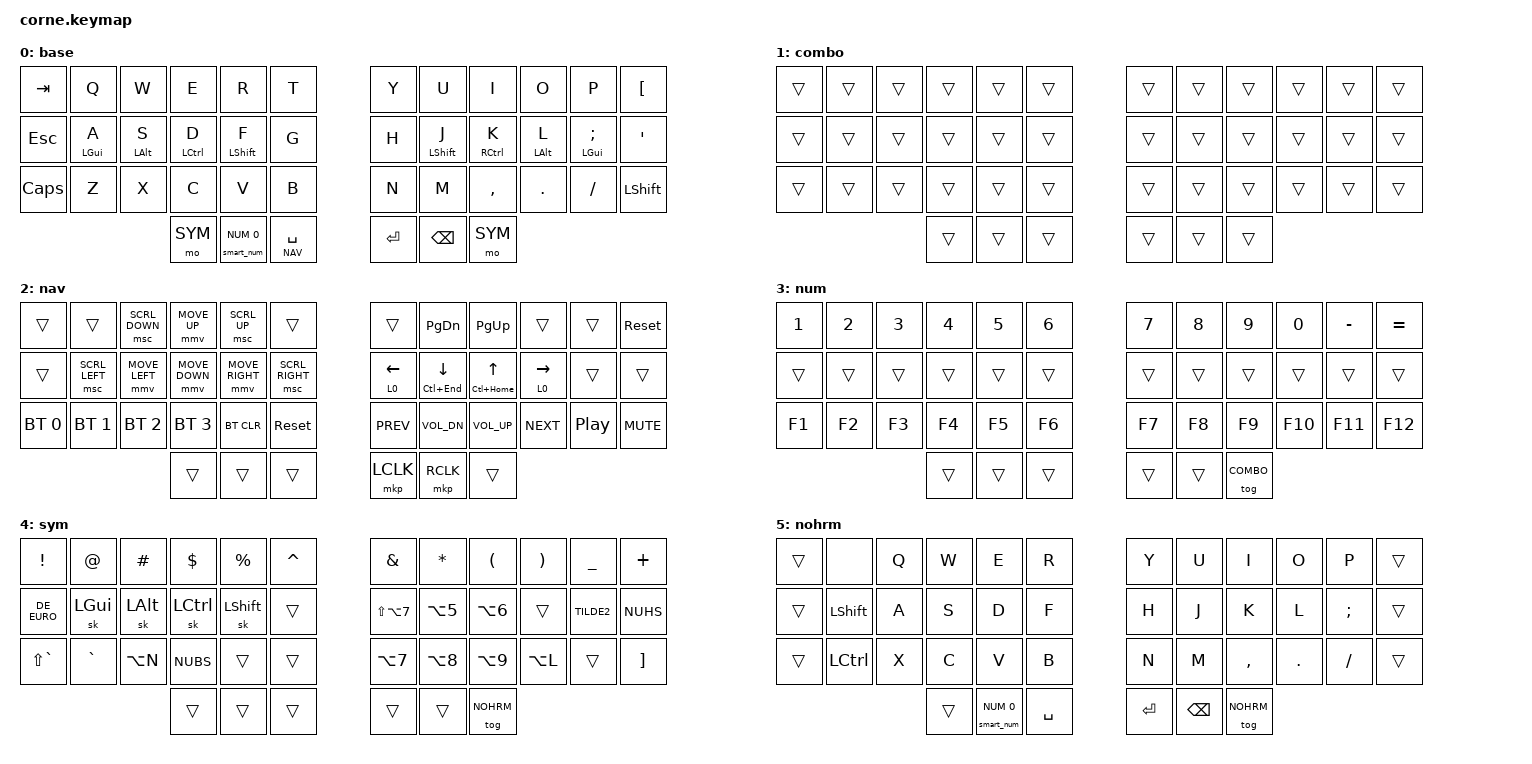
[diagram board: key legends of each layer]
#include <behaviors.dtsi>
#include <behaviors/num_word.dtsi>  // vendored zmk-auto-layer
#include <dt-bindings/zmk/bt.h>
#include <dt-bindings/zmk/keys.h>

// mouse speed, tuned for 3840x2160 (must come before pointing.h; ZMK defaults: 600 / 10)
#define ZMK_POINTING_DEFAULT_MOVE_VAL 900
#define ZMK_POINTING_DEFAULT_SCRL_VAL 10
#include <dt-bindings/zmk/pointing.h>
#include <input/processors.dtsi>
#include <zephyr/dt-bindings/input/input-event-codes.h>

#include "zmk-helpers/helper.h"        // vendored zmk-helpers
#include "zmk-helpers/key-labels/42.h"
#include "de_mac.h"

/*                              KEY POSITIONS

  ╭─────────────────────────╮ ╭─────────────────────────╮
  │ LT5 LT4 LT3 LT2 LT1 LT0 │ │ RT0 RT1 RT2 RT3 RT4 RT5 │
  │ LM5 LM4 LM3 LM2 LM1 LM0 │ │ RM0 RM1 RM2 RM3 RM4 RM5 │
  │ LB5 LB4 LB3 LB2 LB1 LB0 │ │ RB0 RB1 RB2 RB3 RB4 RB5 │
  ╰───────────╮ LH2 LH1 LH0 │ │ RH0 RH1 RH2 ╭───────────╯
              ╰─────────────╯ ╰─────────────╯ */

// Order matters: a layer only overrides the ones below it. ZMK_LAYER calls below
// must appear in this same order.
#define DEF 0
#define COMBO 1   // DEF + symbol combos (toggle: NUM + right thumb outer key)
#define NAV 2
#define NUM 3
#define SYM 4
#define NOHRM 5   // toggle: SYM + right thumb outer key

#define XXX &none
#define ___ &trans

#define QUICK_TAP_MS 175

/* Global behavior settings */

&sk {  // sticky-key
    release-after-ms = <900>;
    quick-release;             // no double capitalization when rolling keys
};

&sl {  // sticky-layer
    ignore-modifiers;          // allow chording sticky mods & layers
};

&lt {  // layer-tap
    flavor = "balanced";
    tapping-term-ms = <200>;
    quick-tap-ms = <QUICK_TAP_MS>;
};

/* Homerow mods: only resolve as hold when a key on the other hand (or a thumb) is pressed */

#define KEYS_L LT0 LT1 LT2 LT3 LT4 LM0 LM1 LM2 LM3 LM4 LB0 LB1 LB2 LB3 LB4
#define KEYS_R RT0 RT1 RT2 RT3 RT4 RM0 RM1 RM2 RM3 RM4 RB0 RB1 RB2 RB3 RB4
#define THUMBS LH2 LH1 LH0 RH0 RH1 RH2

#define MAKE_HRM(NAME, HOLD, TAP, TRIGGER_POS) \
    ZMK_HOLD_TAP(NAME, \
        flavor = "balanced"; \
        tapping-term-ms = <200>; \
        quick-tap-ms = <QUICK_TAP_MS>; \
        require-prior-idle-ms = <100>; \
        bindings = <HOLD>, <TAP>; \
        hold-trigger-key-positions = <TRIGGER_POS>; \
        hold-trigger-on-release; \
    )
MAKE_HRM(hml, &kp, &kp, KEYS_R THUMBS)  // left-hand HRMs
MAKE_HRM(hmr, &kp, &kp, KEYS_L THUMBS)  // right-hand HRMs

/* Nav cluster: tap = short action, long-press = long action */

#define MT_CORE \
    flavor = "tap-preferred"; \
    tapping-term-ms = <220>; \
    quick-tap-ms = <220>; \
    hold-trigger-key-positions = <0>;

&mt { MT_CORE };
ZMK_HOLD_TAP(mt_home, bindings = <&masked_home>, <&kp>; MT_CORE)
ZMK_HOLD_TAP(mt_end, bindings = <&masked_end>, <&kp>; MT_CORE)

// mask CTRL when holding left/right to avoid accidental jumps to beginning/end of document
ZMK_MOD_MORPH(masked_home, bindings = <&kp HOME>, <&kp HOME>; mods = <(MOD_LCTL)>;)
ZMK_MOD_MORPH(masked_end, bindings = <&kp END>, <&kp END>; mods = <(MOD_LCTL)>;)

#define NAV_LEFT  &mt_home 0   LEFT    // tap: left  | long-tap: beginning of line
#define NAV_RIGHT &mt_end 0    RIGHT   // tap: right | long-tap: end       of line
#define NAV_UP    &mt LC(HOME) UP      // tap: up    | long-tap: beginning of document
#define NAV_DOWN  &mt LC(END)  DOWN    // tap: down  | long-tap: end       of document

/* Smart num: tap = num-word | double-tap = sticky num layer | hold = num layer */

#define SMART_NUM &smart_num NUM 0
ZMK_HOLD_TAP(smart_num,
    flavor = "balanced";
    tapping-term-ms = <200>;
    quick-tap-ms = <QUICK_TAP_MS>;
    bindings = <&mo>, <&num_dance>;
)
ZMK_TAP_DANCE(num_dance,
    tapping-term-ms = <200>;
    bindings = <&num_word NUM>, <&sl NUM>;
)

/* Symbol combos (COMBO layer only), layout from urob's zmk-config

   press two neighbouring keys at once (letters as typed with the German layout):

     vertical, top + home row        vertical, home + bottom row
       W+S @   E+D #   R+F $   T+G %     S+X `   D+C \   F+V =   G+B ~
       Z+H ^   U+J +   I+K *   O+L &     H+N _   J+M -   K+, /   L+. |

     horizontal, right hand
       U+I {   I+O }      J+K (  shift: <      M+, [   ,+. ]
                          K+L )  shift: >

   J+K / K+L sit on homerow mods, so holding them gives the mods instead
   (J+K: shift+ctrl, K+L: ctrl+alt). */

#define COMBO_TERM_FAST 18  // horizontal: must hit almost together
#define COMBO_TERM_SLOW 30  // vertical: two fingers, a bit more slack
#define COMBO_IDLE_FAST 150 // no combos right after typing (avoids misfires)
#define COMBO_IDLE_SLOW 50
#define COMBO_LAYERS COMBO

// hold-tap combos: tap = symbol, hold = mods (8-argument ZMK_COMBO)
#define ZMK_COMBO_8(NAME, TAP, KEYPOS, LAYERS, TERM, IDLE, HOLD, SIDE) \
    MAKE_HRM(hm_combo_ ## NAME, &kp, TAP, SIDE THUMBS) \
    ZMK_COMBO_6(NAME, &hm_combo_ ## NAME HOLD 0, KEYPOS, LAYERS, TERM, IDLE)

ZMK_MOD_MORPH(lpar_lt, mods = <(MOD_LSFT|MOD_RSFT)>; bindings = <&kp DE_LPAR>, <&kp DE_LT>;)
ZMK_MOD_MORPH(rpar_gt, mods = <(MOD_LSFT|MOD_RSFT)>; bindings = <&kp DE_RPAR>, <&kp DE_GT>;)

/* Horizontal - right hand */
ZMK_COMBO(lbrc,  &kp DE_LBRC,  RT1 RT2, COMBO_LAYERS, COMBO_TERM_FAST, COMBO_IDLE_FAST)
ZMK_COMBO(rbrc,  &kp DE_RBRC,  RT2 RT3, COMBO_LAYERS, COMBO_TERM_FAST, COMBO_IDLE_FAST)
ZMK_COMBO(lpar,  &lpar_lt,     RM1 RM2, COMBO_LAYERS, COMBO_TERM_FAST, COMBO_IDLE_FAST, LS(RCTRL), KEYS_L)
ZMK_COMBO(rpar,  &rpar_gt,     RM2 RM3, COMBO_LAYERS, COMBO_TERM_FAST, COMBO_IDLE_FAST, LA(RCTRL), KEYS_L)
ZMK_COMBO(lbkt,  &kp DE_LBKT,  RB1 RB2, COMBO_LAYERS, COMBO_TERM_FAST, COMBO_IDLE_FAST)
ZMK_COMBO(rbkt,  &kp DE_RBKT,  RB2 RB3, COMBO_LAYERS, COMBO_TERM_FAST, COMBO_IDLE_FAST)

/* Vertical - left hand */
ZMK_COMBO(at,    &kp DE_AT,    LT3 LM3, COMBO_LAYERS, COMBO_TERM_SLOW, COMBO_IDLE_SLOW)
ZMK_COMBO(hash,  &kp DE_HASH,  LT2 LM2, COMBO_LAYERS, COMBO_TERM_SLOW, COMBO_IDLE_SLOW)
ZMK_COMBO(dllr,  &kp DE_DLLR,  LT1 LM1, COMBO_LAYERS, COMBO_TERM_SLOW, COMBO_IDLE_SLOW)
ZMK_COMBO(prcnt, &kp DE_PRCNT, LT0 LM0, COMBO_LAYERS, COMBO_TERM_SLOW, COMBO_IDLE_SLOW)
ZMK_COMBO(grave, &kp DE_GRAVE, LM3 LB3, COMBO_LAYERS, COMBO_TERM_SLOW, COMBO_IDLE_SLOW)
ZMK_COMBO(bslh,  &kp DE_BSLH,  LM2 LB2, COMBO_LAYERS, COMBO_TERM_SLOW, COMBO_IDLE_SLOW)
ZMK_COMBO(equal, &kp DE_EQUAL, LM1 LB1, COMBO_LAYERS, COMBO_TERM_SLOW, COMBO_IDLE_SLOW)
ZMK_COMBO(tilde, &kp DE_TILDE, LM0 LB0, COMBO_LAYERS, COMBO_TERM_SLOW, COMBO_IDLE_SLOW)

/* Vertical - right hand */
ZMK_COMBO(caret, &kp DE_CARET, RT0 RM0, COMBO_LAYERS, COMBO_TERM_SLOW, COMBO_IDLE_SLOW)
ZMK_COMBO(plus,  &kp DE_PLUS,  RT1 RM1, COMBO_LAYERS, COMBO_TERM_SLOW, COMBO_IDLE_SLOW)
ZMK_COMBO(star,  &kp DE_STAR,  RT2 RM2, COMBO_LAYERS, COMBO_TERM_SLOW, COMBO_IDLE_SLOW)
ZMK_COMBO(amps,  &kp DE_AMPS,  RT3 RM3, COMBO_LAYERS, COMBO_TERM_SLOW, COMBO_IDLE_SLOW)
ZMK_COMBO(under, &kp DE_UNDER, RM0 RB0, COMBO_LAYERS, COMBO_TERM_SLOW, COMBO_IDLE_SLOW)
ZMK_COMBO(minus, &kp DE_MINUS, RM1 RB1, COMBO_LAYERS, COMBO_TERM_SLOW, COMBO_IDLE_SLOW)
ZMK_COMBO(fslh,  &kp DE_FSLH,  RM2 RB2, COMBO_LAYERS, COMBO_TERM_SLOW, COMBO_IDLE_SLOW)
ZMK_COMBO(pipe,  &kp DE_PIPE,  RM3 RB3, COMBO_LAYERS, COMBO_TERM_SLOW, COMBO_IDLE_SLOW)

/* Mouse keys, based on @caksoylar's config */

&mmv {
    acceleration-exponent = <1>;
    time-to-max-speed-ms = <500>;
    delay-ms = <0>;
};

&msc {
    acceleration-exponent = <0>;
    time-to-max-speed-ms = <300>;
    delay-ms = <0>;
};

/ {
    zip_scroll_scaler: zip_scroll_scaler {
        compatible = "zmk,input-processor-scaler";
        #input-processor-cells = <2>;
        type = <INPUT_EV_REL>;
        codes = <INPUT_REL_WHEEL INPUT_REL_HWHEEL>;
        track-remainders;
    };
};

&mmv_input_listener {
    warp { layers = <NAV>; input-processors = <&zip_xy_scaler 3 1>; };       // 3x faster on NAV
};

&msc_input_listener {
    warp { layers = <NAV>; input-processors = <&zip_scroll_scaler 2 1>; };   // 2x faster on NAV
};

#define U_MS_U &mmv MOVE_UP
#define U_MS_D &mmv MOVE_DOWN
#define U_MS_L &mmv MOVE_LEFT
#define U_MS_R &mmv MOVE_RIGHT
#define U_WH_U &msc SCRL_UP
#define U_WH_D &msc SCRL_DOWN
#define U_WH_L &msc SCRL_LEFT
#define U_WH_R &msc SCRL_RIGHT

/* Keymap */

ZMK_LAYER(base,
//╭─────────────┬─────────────┬─────────────┬─────────────┬─────────────┬─────────────╮ ╭─────────────┬─────────────┬─────────────┬─────────────┬─────────────┬─────────────╮
    &kp TAB       &kp Q         &kp W         &kp E         &kp R         &kp T           &kp Y         &kp U         &kp I         &kp O         &kp P         &kp LBKT
//├─────────────┼─────────────┼─────────────┼─────────────┼─────────────┼─────────────┤ ├─────────────┼─────────────┼─────────────┼─────────────┼─────────────┼─────────────┤
    &kp ESC       &hml LGUI A   &hml LALT S   &hml LCTRL D  &hml LSHFT F  &kp G           &kp H         &hmr LSHFT J  &hmr RCTRL K  &hmr LALT L   &hmr LGUI SEMI &kp SQT
//├─────────────┼─────────────┼─────────────┼─────────────┼─────────────┼─────────────┤ ├─────────────┼─────────────┼─────────────┼─────────────┼─────────────┼─────────────┤
    &kp CAPS      &kp Z         &kp X         &kp C         &kp V         &kp B           &kp N         &kp M         &kp COMMA     &kp DOT       &kp FSLH      &kp LSHFT
//╰─────────────┴─────────────┴─────────────┼─────────────┼─────────────┼─────────────┤ ├─────────────┼─────────────┼─────────────┼─────────────┴─────────────┴─────────────╯
                                              &mo SYM       SMART_NUM     &lt NAV SPACE   &kp RET       &kp BSPC      &mo SYM
//                                          ╰─────────────┴─────────────┴─────────────╯ ╰─────────────┴─────────────┴─────────────╯
)

// Same as base (all transparent); only exists so the symbol combos can be toggled on/off.
ZMK_LAYER(combo,
//╭─────────────┬─────────────┬─────────────┬─────────────┬─────────────┬─────────────╮ ╭─────────────┬─────────────┬─────────────┬─────────────┬─────────────┬─────────────╮
    ___           ___           ___           ___           ___           ___             ___           ___           ___           ___           ___           ___
//├─────────────┼─────────────┼─────────────┼─────────────┼─────────────┼─────────────┤ ├─────────────┼─────────────┼─────────────┼─────────────┼─────────────┼─────────────┤
    ___           ___           ___           ___           ___           ___             ___           ___           ___           ___           ___           ___
//├─────────────┼─────────────┼─────────────┼─────────────┼─────────────┼─────────────┤ ├─────────────┼─────────────┼─────────────┼─────────────┼─────────────┼─────────────┤
    ___           ___           ___           ___           ___           ___             ___           ___           ___           ___           ___           ___
//╰─────────────┴─────────────┴─────────────┼─────────────┼─────────────┼─────────────┤ ├─────────────┼─────────────┼─────────────┼─────────────┴─────────────┴─────────────╯
                                              ___           ___           ___             ___           ___           ___
//                                          ╰─────────────┴─────────────┴─────────────╯ ╰─────────────┴─────────────┴─────────────╯
)

ZMK_LAYER(nav,
//╭─────────────┬─────────────┬─────────────┬─────────────┬─────────────┬─────────────╮ ╭─────────────┬─────────────┬─────────────┬─────────────┬─────────────┬─────────────╮
    ___           ___           U_WH_D        U_MS_U        U_WH_U        ___             ___           &kp PG_DN     &kp PG_UP     ___           ___           &sys_reset
//├─────────────┼─────────────┼─────────────┼─────────────┼─────────────┼─────────────┤ ├─────────────┼─────────────┼─────────────┼─────────────┼─────────────┼─────────────┤
    ___           U_WH_L        U_MS_L        U_MS_D        U_MS_R        U_WH_R          NAV_LEFT      NAV_DOWN      NAV_UP        NAV_RIGHT     ___           ___
//├─────────────┼─────────────┼─────────────┼─────────────┼─────────────┼─────────────┤ ├─────────────┼─────────────┼─────────────┼─────────────┼─────────────┼─────────────┤
    &bt BT_SEL 0  &bt BT_SEL 1  &bt BT_SEL 2  &bt BT_SEL 3  &bt BT_CLR    &sys_reset      &kp C_PREV    &kp C_VOL_DN  &kp C_VOL_UP  &kp C_NEXT    &kp C_PP      &kp C_MUTE
//╰─────────────┴─────────────┴─────────────┼─────────────┼─────────────┼─────────────┤ ├─────────────┼─────────────┼─────────────┼─────────────┴─────────────┴─────────────╯
                                              ___           ___           ___             &mkp LCLK     &mkp RCLK     ___
//                                          ╰─────────────┴─────────────┴─────────────╯ ╰─────────────┴─────────────┴─────────────╯
)

ZMK_LAYER(num,
//╭─────────────┬─────────────┬─────────────┬─────────────┬─────────────┬─────────────╮ ╭─────────────┬─────────────┬─────────────┬─────────────┬─────────────┬─────────────╮
    &kp N1        &kp N2        &kp N3        &kp N4        &kp N5        &kp N6          &kp N7        &kp N8        &kp N9        &kp N0        &kp MINUS     &kp EQUAL
//├─────────────┼─────────────┼─────────────┼─────────────┼─────────────┼─────────────┤ ├─────────────┼─────────────┼─────────────┼─────────────┼─────────────┼─────────────┤
    ___           ___           ___           ___           ___           ___             ___           ___           ___           ___           ___           ___
//├─────────────┼─────────────┼─────────────┼─────────────┼─────────────┼─────────────┤ ├─────────────┼─────────────┼─────────────┼─────────────┼─────────────┼─────────────┤
    &kp F1        &kp F2        &kp F3        &kp F4        &kp F5        &kp F6          &kp F7        &kp F8        &kp F9        &kp F10       &kp F11       &kp F12
//╰─────────────┴─────────────┴─────────────┼─────────────┼─────────────┼─────────────┤ ├─────────────┼─────────────┼─────────────┼─────────────┴─────────────┴─────────────╯
                                              ___           ___           ___             ___           ___           &tog COMBO
//                                          ╰─────────────┴─────────────┴─────────────╯ ╰─────────────┴─────────────┴─────────────╯
)

ZMK_LAYER(sym,
//╭─────────────┬─────────────┬─────────────┬─────────────┬─────────────┬─────────────╮ ╭─────────────┬─────────────┬─────────────┬─────────────┬─────────────┬─────────────╮
    &kp EXCL      &kp AT        &kp HASH      &kp DOLLAR    &kp PERCENT   &kp CARET       &kp AMPS      &kp STAR      &kp LPAR      &kp RPAR      &kp UNDER     &kp PLUS
//├─────────────┼─────────────┼─────────────┼─────────────┼─────────────┼─────────────┤ ├─────────────┼─────────────┼─────────────┼─────────────┼─────────────┼─────────────┤
    &kp DE_EURO   &sk LGUI      &sk LALT      &sk LCTRL     &sk LSHFT     ___             &kp LS(LA(N7)) &kp LA(N5)   &kp LA(N6)    ___           &kp TILDE2    &kp NUHS
//├─────────────┼─────────────┼─────────────┼─────────────┼─────────────┼─────────────┤ ├─────────────┼─────────────┼─────────────┼─────────────┼─────────────┼─────────────┤
    &kp LS(GRAVE) &kp GRAVE     &kp LA(N)     &kp NUBS      ___           ___             &kp LA(N7)    &kp LA(N8)    &kp LA(N9)    &kp LA(L)     ___           &kp RBKT
//╰─────────────┴─────────────┴─────────────┼─────────────┼─────────────┼─────────────┤ ├─────────────┼─────────────┼─────────────┼─────────────┴─────────────┴─────────────╯
                                              ___           ___           ___             ___           ___           &tog NOHRM
//                                          ╰─────────────┴─────────────┴─────────────╯ ╰─────────────┴─────────────┴─────────────╯
)

ZMK_LAYER(nohrm,
//╭─────────────┬─────────────┬─────────────┬─────────────┬─────────────┬─────────────╮ ╭─────────────┬─────────────┬─────────────┬─────────────┬─────────────┬─────────────╮
    ___           XXX           &kp Q         &kp W         &kp E         &kp R           &kp Y         &kp U         &kp I         &kp O         &kp P         ___
//├─────────────┼─────────────┼─────────────┼─────────────┼─────────────┼─────────────┤ ├─────────────┼─────────────┼─────────────┼─────────────┼─────────────┼─────────────┤
    ___           &kp LSHIFT    &kp A         &kp S         &kp D         &kp F           &kp H         &kp J         &kp K         &kp L         &kp SEMI      ___
//├─────────────┼─────────────┼─────────────┼─────────────┼─────────────┼─────────────┤ ├─────────────┼─────────────┼─────────────┼─────────────┼─────────────┼─────────────┤
    ___           &kp LCTRL     &kp X         &kp C         &kp V         &kp B           &kp N         &kp M         &kp COMMA     &kp DOT       &kp FSLH      ___
//╰─────────────┴─────────────┴─────────────┼─────────────┼─────────────┼─────────────┤ ├─────────────┼─────────────┼─────────────┼─────────────┴─────────────┴─────────────╯
                                              ___           SMART_NUM     &kp SPACE       &kp RET       &kp BSPC      &tog NOHRM
//                                          ╰─────────────┴─────────────┴─────────────╯ ╰─────────────┴─────────────┴─────────────╯
)
